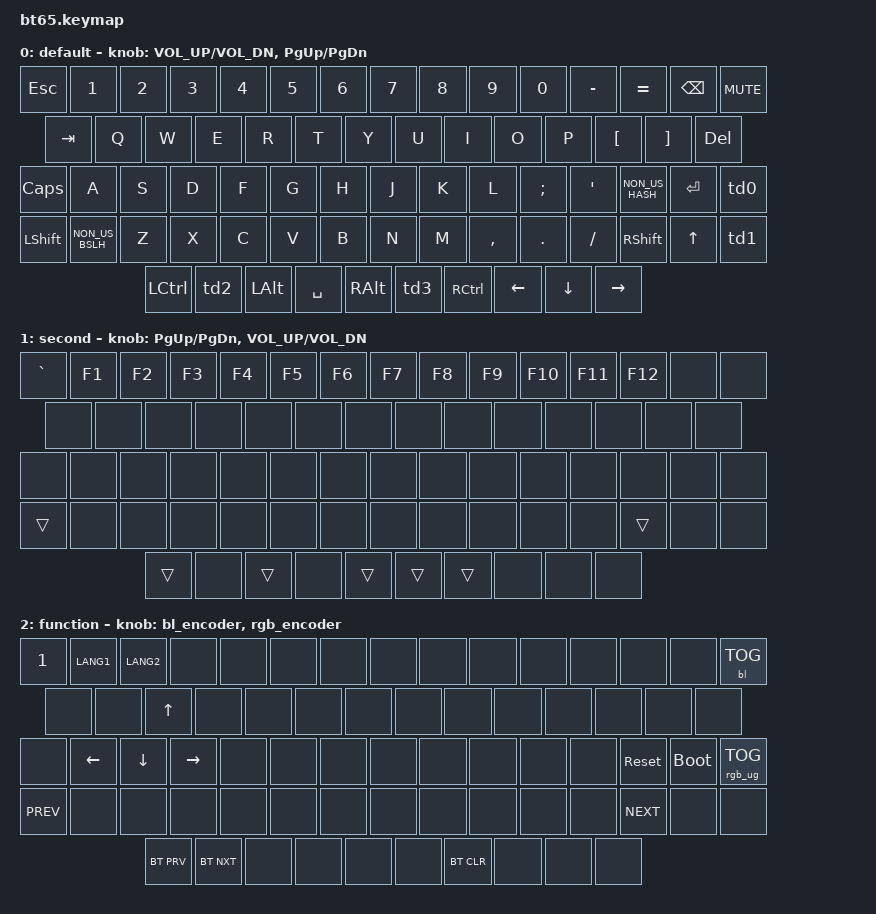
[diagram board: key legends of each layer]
#include <behaviors.dtsi>
#include <dt-bindings/zmk/keys.h>
#include <dt-bindings/zmk/bt.h>
#include <dt-bindings/zmk/rgb.h>
#include <dt-bindings/zmk/backlight.h>
#include <dt-bindings/zmk/ext_power.h>
#define DEFAULT  0
#define SECOND   1
#define FUNCTION 2

&lt {
	tapping-term-ms = <200>;
};


/ {
	behaviors {
		bl_encoder: bl_encoder {
			compatible = "zmk,behavior-sensor-rotate";
			label = "BL_ENCODER";
			#sensor-binding-cells = <0>;
			bindings = <&bl BL_INC>, <&bl BL_DEC>;
        };
		rgb_encoder: rgb_encoder {
			compatible = "zmk,behavior-sensor-rotate";
			label = "RGB_ENCODER";
			#sensor-binding-cells = <0>;
			bindings = <&rgb_ug RGB_HUI>, <&rgb_ug RGB_HUD>;
        };
		td0: tap_dance_0 {
            		compatible = "zmk,behavior-tap-dance";
            		label = "TAP_DANCE_0";
            		#binding-cells = <0>;
            		tapping-term-ms = <333>;
            		bindings = <&kp HOME>, <&kp END>;
        };
		td1: tap_dance_1 {
            		compatible = "zmk,behavior-tap-dance";
            		label = "TAP_DANCE_1";
            		#binding-cells = <0>;
            		tapping-term-ms = <200>;
            		bindings = <&mo 1>, <&mo 2>, <&kp LG(LS(S))>;
        };
		td2: tap_dance_2 {
            		compatible = "zmk,behavior-tap-dance";
            		label = "TAP_DANCE_2";
            		#binding-cells = <0>;
            		tapping-term-ms = <200>;
            		bindings = <&kp LGUI>, <&mo 1>;
        };
		td3: tap_dance_3 {
            		compatible = "zmk,behavior-tap-dance";
            		label = "TAP_DANCE_3";
            		#binding-cells = <0>;
            		tapping-term-ms = <200>;
            		bindings = <&kp RGUI>, <&mo 2>;
        };
    };
	keymap {
		compatible = "zmk,keymap";
		default {
			bindings = <
				&kp ESC  &kp N1  &kp N2  &kp N3  &kp N4  &kp N5  &kp N6  &kp N7  &kp N8  &kp N9  &kp N0  &kp MINUS  &kp EQUAL  &kp BSPC  &kp C_MUTE
				&kp TAB  &kp Q  &kp W  &kp E  &kp R  &kp T  &kp Y  &kp U  &kp I  &kp O  &kp P  &kp LBKT  &kp RBKT  &kp DEL
				&kp CLCK  &kp A  &kp S  &kp D  &kp F  &kp G  &kp H  &kp J  &kp K  &kp L  &kp SEMI  &kp SQT  &kp NON_US_HASH  &kp RET  &td0
				&kp LSHFT  &kp NON_US_BSLH  &kp Z  &kp X  &kp C  &kp V  &kp B  &kp N  &kp M  &kp COMMA  &kp DOT  &kp FSLH  &kp RSHFT  &kp UP  &td1
				&kp LCTRL  &td2  &kp LALT  &kp SPACE  &kp RALT  &td3  &kp RCTRL  &kp LEFT  &kp DOWN  &kp RIGHT
			>;
			sensor-bindings = <&inc_dec_kp C_VOL_UP C_VOL_DN &inc_dec_kp PG_UP PG_DN>;
		};
		second {
			bindings = <
				&kp GRAVE  &kp F1  &kp F2  &kp F3  &kp F4  &kp F5  &kp F6  &kp F7  &kp F8  &kp F9  &kp F10  &kp F11  &kp F12  &none  &none
				&none  &none  &none  &none  &none  &none  &none  &none  &none  &none  &none  &none  &none  &none
				&none  &none  &none  &none  &none  &none  &none  &none  &none  &none  &none  &none  &none  &none  &none
				&trans  &none  &none  &none  &none  &none  &none  &none  &none  &none  &none  &none  &trans  &none  &none
				&trans  &none  &trans  &none  &trans  &trans  &trans  &none  &none  &none
			>;
			sensor-bindings = <&inc_dec_kp PG_UP PG_DN &inc_dec_kp C_VOL_UP C_VOL_DN>;
		};
		function {
			bindings = <
				&kp N1  &kp LANG1  &kp LANG2  &none  &none  &none  &none  &none  &none  &none  &none  &none  &none  &none  &bl BL_TOG
				&none  &none  &kp UP  &none  &none  &none  &none  &none  &none  &none  &none  &none  &none  &none
				&none  &kp LEFT  &kp DOWN  &kp RIGHT  &none  &none  &none  &none  &none  &none  &none  &none  &sys_reset  &bootloader  &rgb_ug RGB_TOG
				&kp C_PREV  &none  &none  &none  &none  &none  &none  &none  &none  &none  &none  &none  &kp C_NEXT  &none  &none
				&bt BT_PRV  &bt BT_NXT  &none  &none  &none  &none  &bt BT_CLR  &none  &none  &none
			>;
			sensor-bindings = <&bl_encoder &rgb_encoder>;
		};
	};
};
